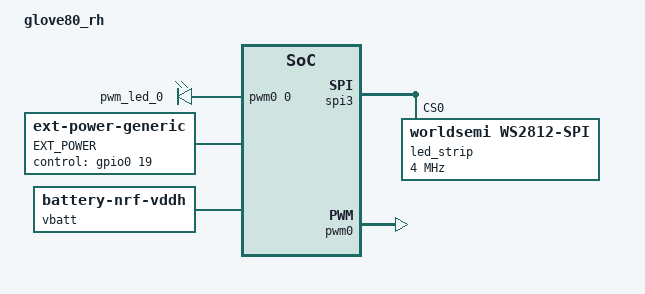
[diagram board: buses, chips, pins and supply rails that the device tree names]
/*
 * Copyright (c) 2021 The ZMK Contributors
 *
 * SPDX-License-Identifier: MIT
 */


#include "glove80.dtsi"
#include "glove80_rh-pinctrl.dtsi"

#include <dt-bindings/led/led.h>

/ {
    model = "glove80_rh";
    compatible = "glove80_rh";

    chosen {
        zmk,underglow = &led_strip;
        zmk,backlight = &back_led_backlight;
        zmk,battery   = &vbatt;
    };

    back_led_backlight: pwmleds {
        compatible = "pwm-leds";
        pwm_led_0 {
            pwms = <&pwm0 0 PWM_USEC(20) PWM_POLARITY_NORMAL>;
        };
    };

    // Node name must match original "EXT_POWER" label to preserve user settings.
    EXT_POWER {
        compatible = "zmk,ext-power-generic";
        control-gpios = <&gpio0 19 GPIO_ACTIVE_HIGH>; /* WS2812_CE */
        init-delay-ms = <100>;
    };

    vbatt: vbatt {
        compatible = "zmk,battery-nrf-vddh";
    };
};

&spi3 {
    compatible = "nordic,nrf-spim";
    status = "okay";

    pinctrl-0 = <&spi3_default>;
    pinctrl-1 = <&spi3_sleep>;
    pinctrl-names = "default", "sleep";

    led_strip: ws2812@0 {
        compatible = "worldsemi,ws2812-spi";

        /* SPI */
        reg = <0>; /* ignored, but necessary for SPI bindings */
        spi-max-frequency = <4000000>;

        /* WS2812 */
        chain-length = <40>; /* 40 keys have underglow at the moment */
        spi-one-frame = <0x70>;
        spi-zero-frame = <0x40>;

        color-mapping = <LED_COLOR_ID_GREEN LED_COLOR_ID_RED LED_COLOR_ID_BLUE>;
    };
};

&pwm0 {
    status = "okay";
    pinctrl-0 = <&pwm0_default>;
    pinctrl-1 = <&pwm0_sleep>;
    pinctrl-names = "default", "sleep";
};


&uart0 {
    compatible = "nordic,nrf-uarte";
    pinctrl-0 = <&uart0_default>;
    pinctrl-1 = <&uart0_sleep>;
    pinctrl-names = "default", "sleep";
};

/* For right hand, the columns are offset by 7 */
&default_transform {
    col-offset = <7>;
};

&kscan0 {
    row-gpios
        = <&gpio0 26 (GPIO_ACTIVE_HIGH | GPIO_PULL_DOWN)> // RH ROW1
        , <&gpio0 5 (GPIO_ACTIVE_HIGH | GPIO_PULL_DOWN)> // RH ROW2
        , <&gpio0 7 (GPIO_ACTIVE_HIGH | GPIO_PULL_DOWN)> // RH ROW3
        , <&gpio1 8 (GPIO_ACTIVE_HIGH | GPIO_PULL_DOWN)> // RH ROW4
        , <&gpio0 11 (GPIO_ACTIVE_HIGH | GPIO_PULL_DOWN)> // RH ROW5
        , <&gpio0 12 (GPIO_ACTIVE_HIGH | GPIO_PULL_DOWN)> // RH ROW6
        ;
    col-gpios
        = <&gpio1 6 GPIO_ACTIVE_HIGH> // RH Thumb
        , <&gpio1 4 GPIO_ACTIVE_HIGH> // RH COL1
        , <&gpio0 2 GPIO_ACTIVE_HIGH> // RH COL2
        , <&gpio1 7 GPIO_ACTIVE_HIGH> // RH COL3
        , <&gpio1 5 GPIO_ACTIVE_HIGH> // RH COL4
        , <&gpio1 3 GPIO_ACTIVE_HIGH> // RH COL5
        , <&gpio1 1 GPIO_ACTIVE_HIGH> // RH COL6
        ;
};
